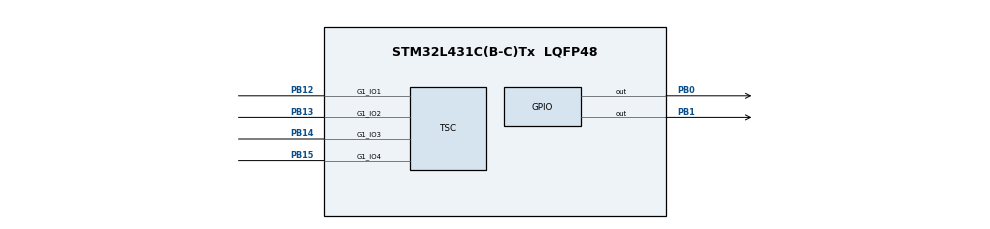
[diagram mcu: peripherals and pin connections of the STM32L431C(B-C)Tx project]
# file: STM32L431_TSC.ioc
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Mcu.Family=STM32L4
Mcu.Name=STM32L431C(B-C)Tx
Mcu.Package=LQFP48
NVIC.PriorityGroup=NVIC_PRIORITYGROUP_4
NVIC.TSC_IRQn=true\:0\:0\:false\:false\:true\:true\:true\:true
PA13\ (JTMS-SWDIO).Mode=Serial_Wire
PA13\ (JTMS-SWDIO).Signal=SYS_JTMS-SWDIO
PA14\ (JTCK-SWCLK).Mode=Serial_Wire
PA14\ (JTCK-SWCLK).Signal=SYS_JTCK-SWCLK
PB0.Signal=GPIO_Output
PB1.Signal=GPIO_Output
PB12.Mode=G1_IO1-Channel
PB12.Signal=TSC_G1_IO1
PB13.Mode=G1_IO2-Channel
PB13.Signal=TSC_G1_IO2
PB14.Mode=G1_IO3-Sampling
PB14.Signal=TSC_G1_IO3
PB15.Mode=G1_IO4-Channel
PB15.Signal=TSC_G1_IO4
ProjectManager.HeapSize=0x200
ProjectManager.StackSize=0x400
ProjectManager.TargetToolchain=MDK-ARM V5.32
RCC.HSE_VALUE=8000000
RCC.HSI48_VALUE=48000000
RCC.HSI_VALUE=16000000
RCC.LSE_VALUE=32768
RCC.MSI_VALUE=4000000
RCC.VCOOutputFreq_Value=32000000
TSC.ChannelIOs-G1_IO1=TSC_GROUP1_IO1
TSC.ChannelIOs-G1_IO2=TSC_GROUP1_IO2
TSC.ChannelIOs-G1_IO4=TSC_GROUP1_IO4
TSC.SamplingIOs-G1_IO3=TSC_GROUP1_IO3
board=custom

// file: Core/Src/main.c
/* USER CODE BEGIN Header */
/**
  ******************************************************************************
  * @file           : main.c
  * @brief          : Main program body
  ******************************************************************************
  * @attention
  *
  * Copyright (c) 2024 STMicroelectronics.
  * All rights reserved.
  *
  * This software is licensed under terms that can be found in the LICENSE file
  * in the root directory of this software component.
  * If no LICENSE file comes with this software, it is provided AS-IS.
  *
  ******************************************************************************
  */
/* USER CODE END Header */
#include "main.h"

TSC_HandleTypeDef htsc;

void SystemClock_Config(void);
static void MX_GPIO_Init(void);
static void MX_TSC_Init(void);

/* USER CODE BEGIN 0 */

#define TSCx_TS1_MAXTHRESHOLD 2400
__IO uint32_t uhTSCAcquisitionValue;
TSC_IOConfigTypeDef IoConfig;

void HAL_TSC_ConvCpltCallback(TSC_HandleTypeDef* htsc_part)
{
      // HAL_GPIO_WritePin(GPIOB,GPIO_PIN_1,GPIO_PIN_RESET);
      HAL_GPIO_TogglePin(GPIOB,GPIO_PIN_1);
  uint32_t wait_loop_index = 0;

  /*##-5- Discharge the touch-sensing IOs ####################################*/
  HAL_TSC_IODischarge(&htsc, ENABLE);
  /* Note: a delay can be added here */
  /* wait 100us */
  wait_loop_index = (SystemCoreClock / 10000);
  while (wait_loop_index != 0)
  {
    wait_loop_index--;
  }

  /*##-6- Check if the acquisition is correct (no max count) #################*/
  if (HAL_TSC_GroupGetStatus(&htsc, TSC_GROUP1_IDX) == TSC_GROUP_COMPLETED)
  {
    /*##-7- Read the acquisition value #######################################*/
    uhTSCAcquisitionValue = HAL_TSC_GroupGetValue(&htsc, TSC_GROUP1_IDX);
    /* Note: Show the touch activity on LEDs.
       The threshold values are indicative and may need to be adjusted */
    if (uhTSCAcquisitionValue < TSCx_TS1_MAXTHRESHOLD)
    {
      // BSP_LED_On(LED1);
      HAL_GPIO_WritePin(GPIOB,GPIO_PIN_0,GPIO_PIN_SET);
    }
    else
    {
      // BSP_LED_Off(LED1);
      HAL_GPIO_WritePin(GPIOB,GPIO_PIN_0,GPIO_PIN_RESET);
    }
  }

  /*##-8- Re-start the acquisition process ###################################*/
  if (HAL_TSC_Start_IT(&htsc) != HAL_OK)
  {
    /* Acquisition Error */
    Error_Handler();
  }
      // HAL_GPIO_WritePin(GPIOB,GPIO_PIN_1,GPIO_PIN_SET);
}
/* USER CODE END 0 */

int main(void)
{

  /* MCU Configuration--------------------------------------------------------*/

  /* Reset of all peripherals, Initializes the Flash interface and the Systick. */
  HAL_Init();

  /* Configure the system clock */
  SystemClock_Config();

  /* Initialize all configured peripherals */
  MX_GPIO_Init();
  MX_TSC_Init();
  /* USER CODE BEGIN 2 */

  /*##-2- Configure the touch-sensing IOs ####################################*/
  IoConfig.ChannelIOs  = TSC_GROUP1_IO1; /* TS1 key channel */
  IoConfig.SamplingIOs = (TSC_GROUP1_IO2 | TSC_GROUP1_IO1);
  IoConfig.ShieldIOs   = 0;

  if (HAL_TSC_IOConfig(&htsc, &IoConfig) != HAL_OK)
  {
    /* Initialization Error */
    Error_Handler();
  }

  /*##-3- Discharge the touch-sensing IOs ####################################*/
  HAL_TSC_IODischarge(&htsc, ENABLE);
  HAL_Delay(1); /* 1 ms is more than enough to discharge all capacitors */

  /*##-4- Start the acquisition process ######################################*/
  if (HAL_TSC_Start_IT(&htsc) != HAL_OK)
  {
    /* Acquisition Error */
    Error_Handler();
  }

  /* USER CODE END 2 */

  /* Infinite loop */
  while (1)
  {

  }
}

void SystemClock_Config(void)
{
  RCC_OscInitTypeDef RCC_OscInitStruct = {0};
  RCC_ClkInitTypeDef RCC_ClkInitStruct = {0};

  /** Configure the main internal regulator output voltage
  */
  if (HAL_PWREx_ControlVoltageScaling(PWR_REGULATOR_VOLTAGE_SCALE1) != HAL_OK)
  {
    Error_Handler();
  }

  /** Initializes the RCC Oscillators according to the specified parameters
  * in the RCC_OscInitTypeDef structure.
  */
  RCC_OscInitStruct.OscillatorType = RCC_OSCILLATORTYPE_MSI;
  RCC_OscInitStruct.MSIState = RCC_MSI_ON;
  RCC_OscInitStruct.MSICalibrationValue = 0;
  RCC_OscInitStruct.MSIClockRange = RCC_MSIRANGE_6;
  RCC_OscInitStruct.PLL.PLLState = RCC_PLL_NONE;
  if (HAL_RCC_OscConfig(&RCC_OscInitStruct) != HAL_OK)
  {
    Error_Handler();
  }

  /** Initializes the CPU, AHB and APB buses clocks
  */
  RCC_ClkInitStruct.ClockType = RCC_CLOCKTYPE_HCLK|RCC_CLOCKTYPE_SYSCLK
                              |RCC_CLOCKTYPE_PCLK1|RCC_CLOCKTYPE_PCLK2;
  RCC_ClkInitStruct.SYSCLKSource = RCC_SYSCLKSOURCE_MSI;
  RCC_ClkInitStruct.AHBCLKDivider = RCC_SYSCLK_DIV1;
  RCC_ClkInitStruct.APB1CLKDivider = RCC_HCLK_DIV1;
  RCC_ClkInitStruct.APB2CLKDivider = RCC_HCLK_DIV1;

  if (HAL_RCC_ClockConfig(&RCC_ClkInitStruct, FLASH_LATENCY_0) != HAL_OK)
  {
    Error_Handler();
  }
}

static void MX_TSC_Init(void)
{

  /** Configure the TSC peripheral
  */
  htsc.Instance = TSC;
  htsc.Init.CTPulseHighLength = TSC_CTPH_2CYCLES;
  htsc.Init.CTPulseLowLength = TSC_CTPL_2CYCLES;
  htsc.Init.SpreadSpectrum = DISABLE;
  htsc.Init.SpreadSpectrumDeviation = 1;
  htsc.Init.SpreadSpectrumPrescaler = TSC_SS_PRESC_DIV1;
  htsc.Init.PulseGeneratorPrescaler = TSC_PG_PRESC_DIV4;
  htsc.Init.MaxCountValue = TSC_MCV_8191;
  htsc.Init.IODefaultMode = TSC_IODEF_OUT_PP_LOW;
  htsc.Init.SynchroPinPolarity = TSC_SYNC_POLARITY_FALLING;
  htsc.Init.AcquisitionMode = TSC_ACQ_MODE_NORMAL;
  htsc.Init.MaxCountInterrupt = DISABLE;
  htsc.Init.ChannelIOs = TSC_GROUP1_IO1|TSC_GROUP1_IO2|TSC_GROUP1_IO4;
  htsc.Init.ShieldIOs = 0;
  htsc.Init.SamplingIOs = TSC_GROUP1_IO3;
  if (HAL_TSC_Init(&htsc) != HAL_OK)
  {
    Error_Handler();
  }

}

static void MX_GPIO_Init(void)
{
  GPIO_InitTypeDef GPIO_InitStruct = {0};

  /* GPIO Ports Clock Enable */
  __HAL_RCC_GPIOB_CLK_ENABLE();
  __HAL_RCC_GPIOA_CLK_ENABLE();

  /*Configure GPIO pin Output Level */
  HAL_GPIO_WritePin(GPIOB, GPIO_PIN_0|GPIO_PIN_1, GPIO_PIN_RESET);

  /*Configure GPIO pins : PB0 PB1 */
  GPIO_InitStruct.Pin = GPIO_PIN_0|GPIO_PIN_1;
  GPIO_InitStruct.Mode = GPIO_MODE_OUTPUT_PP;
  GPIO_InitStruct.Pull = GPIO_NOPULL;
  GPIO_InitStruct.Speed = GPIO_SPEED_FREQ_LOW;
  HAL_GPIO_Init(GPIOB, &GPIO_InitStruct);

}

void Error_Handler(void)
{
  __disable_irq();
  while (1)
  {
  }
}
